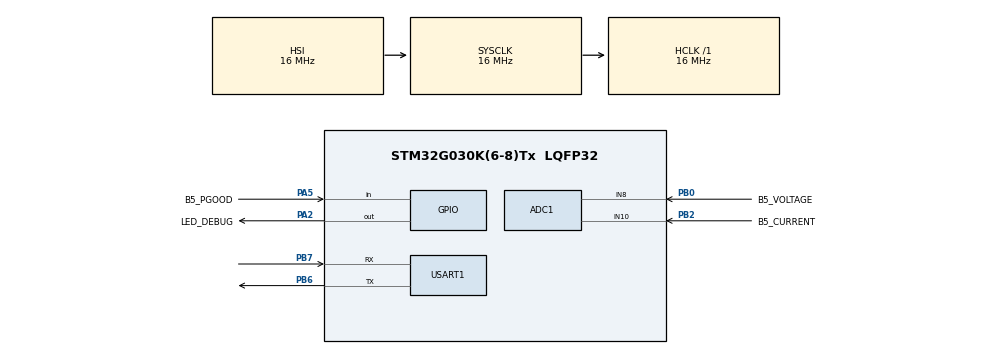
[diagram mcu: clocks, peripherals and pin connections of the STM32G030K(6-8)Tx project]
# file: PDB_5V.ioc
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ADC1.Channel-0\#ChannelRegularConversion=ADC_CHANNEL_8
ADC1.NbrOfConversionFlag=1
ADC1.Rank-0\#ChannelRegularConversion=1
ADC1.SamplingTime-0\#ChannelRegularConversion=ADC_SAMPLINGTIME_COMMON_1
ADC1.SamplingTimeCommon1=ADC_SAMPLETIME_39CYCLES_5
ADC1.SamplingTimeCommon2=ADC_SAMPLETIME_39CYCLES_5
ADC1.SelectedChannel=ADC_CHANNEL_8|ADC_CHANNEL_10
ADC1.TriggerFrequencyMode=ADC_TRIGGER_FREQ_LOW
ADC1.master=1
Mcu.Family=STM32G0
Mcu.Name=STM32G030K(6-8)Tx
Mcu.Package=LQFP32
PA13.Mode=Serial_Wire
PA13.Signal=SYS_SWDIO
PA14-BOOT0.Mode=Serial_Wire
PA14-BOOT0.Signal=SYS_SWCLK
PA2.GPIO_Label=LED_DEBUG
PA2.Signal=GPIO_Output
PA5.GPIO_Label=B5_PGOOD
PA5.Signal=GPIO_Input
PB0.GPIO_Label=B5_VOLTAGE
PB0.Mode=IN8
PB0.Signal=ADC1_IN8
PB2.GPIO_Label=B5_CURRENT
PB2.Mode=IN10
PB2.Signal=ADC1_IN10
PB6.Mode=Asynchronous
PB6.Signal=USART1_TX
PB7.Mode=Asynchronous
PB7.Signal=USART1_RX
ProjectManager.HeapSize=0x200
ProjectManager.StackSize=0x400
ProjectManager.TargetToolchain=CMake
RCC.AHBFreq_Value=16000000
RCC.CortexFreq_Value=16000000
RCC.EXTERNAL_CLOCK_VALUE=12288000
RCC.HCLKFreq_Value=16000000
RCC.HSE_VALUE=8000000
RCC.HSI_VALUE=16000000
RCC.LSE_VALUE=32768
RCC.SYSCLKFreq_VALUE=16000000
RCC.VCOOutputFreq_Value=128000000
USART1.VirtualMode-Asynchronous=VM_ASYNC
board=custom

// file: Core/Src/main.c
/* USER CODE BEGIN Header */
/**
  ******************************************************************************
  * @file           : main.c
  * @brief          : Main program body
  ******************************************************************************
  * @attention
  *
  * Copyright (c) 2026 STMicroelectronics.
  * All rights reserved.
  *
  * This software is licensed under terms that can be found in the LICENSE file
  * in the root directory of this software component.
  * If no LICENSE file comes with this software, it is provided AS-IS.
  *
  ******************************************************************************
  */
/* USER CODE END Header */
#include "main.h"

/* USER CODE BEGIN Includes */
#include <string.h>
#include <stdio.h>
/* USER CODE END Includes */

/* USER CODE BEGIN PD */

#define ADC_VREF       3.3f
#define ADC_MAX        4095.0f

#define SENSOR_VZERO   1.65f
#define SENSOR_SENS    0.050f

/* USER CODE END PD */

ADC_HandleTypeDef hadc1;

UART_HandleTypeDef huart1;

/* USER CODE BEGIN PV */

uint32_t adc_value;

float sensor_voltage;
float current_A;

char uart_message[100];

/* USER CODE END PV */

void SystemClock_Config(void);
static void MX_GPIO_Init(void);
static void MX_ADC1_Init(void);
static void MX_USART1_UART_Init(void);

int main(void)
{

  /* MCU Configuration--------------------------------------------------------*/

  /* Reset of all peripherals, Initializes the Flash interface and the Systick. */
  HAL_Init();

  /* Configure the system clock */
  SystemClock_Config();

  /* Initialize all configured peripherals */
  MX_GPIO_Init();
  MX_ADC1_Init();
  MX_USART1_UART_Init();
  /* USER CODE BEGIN 2 */

  if (HAL_ADCEx_Calibration_Start(&hadc1) != HAL_OK)
  {
    Error_Handler();
  }

  /* USER CODE END 2 */

  /* Infinite loop */
  while (1)
  {
    /* USER CODE BEGIN 3 */
        // Start ADC conversion
    if (HAL_ADC_Start(&hadc1) == HAL_OK)
    {
        // Wait for conversion to finish
        if (HAL_ADC_PollForConversion(&hadc1, 100) == HAL_OK)
        {
            // Read ADC value from PB2
            adc_value = HAL_ADC_GetValue(&hadc1);

            // Convert ADC reading into voltage
            sensor_voltage =
                ((float)adc_value / ADC_MAX) * ADC_VREF;

            // Convert voltage into current (Amperes)
            current_A =
                (sensor_voltage - SENSOR_VZERO) / SENSOR_SENS;

            // Convert current to milliamperes
            int32_t current_mA =
                (int32_t)(current_A * 1000.0f);

            // Format UART message
            snprintf(
                uart_message,
                sizeof(uart_message),
                "5V PDB Current: %ld mA\r\n",
                (long)current_mA
            );

            // Send current to CoolTerm
            HAL_UART_Transmit(
                &huart1,
                (uint8_t *)uart_message,
                strlen(uart_message),
                100
            );
        }

        HAL_ADC_Stop(&hadc1);
    }

    // Update every 500 ms
    HAL_Delay(500);
}
  /* USER CODE END 3 */
}

void SystemClock_Config(void)
{
  RCC_OscInitTypeDef RCC_OscInitStruct = {0};
  RCC_ClkInitTypeDef RCC_ClkInitStruct = {0};

  /** Configure the main internal regulator output voltage
  */
  HAL_PWREx_ControlVoltageScaling(PWR_REGULATOR_VOLTAGE_SCALE1);

  /** Initializes the RCC Oscillators according to the specified parameters
  * in the RCC_OscInitTypeDef structure.
  */
  RCC_OscInitStruct.OscillatorType = RCC_OSCILLATORTYPE_HSI;
  RCC_OscInitStruct.HSIState = RCC_HSI_ON;
  RCC_OscInitStruct.HSIDiv = RCC_HSI_DIV1;
  RCC_OscInitStruct.HSICalibrationValue = RCC_HSICALIBRATION_DEFAULT;
  RCC_OscInitStruct.PLL.PLLState = RCC_PLL_NONE;
  if (HAL_RCC_OscConfig(&RCC_OscInitStruct) != HAL_OK)
  {
    Error_Handler();
  }

  /** Initializes the CPU, AHB and APB buses clocks
  */
  RCC_ClkInitStruct.ClockType = RCC_CLOCKTYPE_HCLK|RCC_CLOCKTYPE_SYSCLK
                              |RCC_CLOCKTYPE_PCLK1;
  RCC_ClkInitStruct.SYSCLKSource = RCC_SYSCLKSOURCE_HSI;
  RCC_ClkInitStruct.AHBCLKDivider = RCC_SYSCLK_DIV1;
  RCC_ClkInitStruct.APB1CLKDivider = RCC_HCLK_DIV1;

  if (HAL_RCC_ClockConfig(&RCC_ClkInitStruct, FLASH_LATENCY_0) != HAL_OK)
  {
    Error_Handler();
  }
}

static void MX_ADC1_Init(void)
{

  ADC_ChannelConfTypeDef sConfig = {0};

  /** Configure the global features of the ADC (Clock, Resolution, Data Alignment and number of conversion)
  */
  hadc1.Instance = ADC1;
  hadc1.Init.ClockPrescaler = ADC_CLOCK_SYNC_PCLK_DIV2;
  hadc1.Init.Resolution = ADC_RESOLUTION_12B;
  hadc1.Init.DataAlign = ADC_DATAALIGN_RIGHT;
  hadc1.Init.ScanConvMode = ADC_SCAN_DISABLE;
  hadc1.Init.EOCSelection = ADC_EOC_SINGLE_CONV;
  hadc1.Init.LowPowerAutoWait = DISABLE;
  hadc1.Init.LowPowerAutoPowerOff = DISABLE;
  hadc1.Init.ContinuousConvMode = DISABLE;
  hadc1.Init.NbrOfConversion = 1;
  hadc1.Init.DiscontinuousConvMode = DISABLE;
  hadc1.Init.ExternalTrigConv = ADC_SOFTWARE_START;
  hadc1.Init.ExternalTrigConvEdge = ADC_EXTERNALTRIGCONVEDGE_NONE;
  hadc1.Init.DMAContinuousRequests = DISABLE;
  hadc1.Init.Overrun = ADC_OVR_DATA_PRESERVED;
  hadc1.Init.SamplingTimeCommon1 = ADC_SAMPLETIME_39CYCLES_5;
  hadc1.Init.SamplingTimeCommon2 = ADC_SAMPLETIME_39CYCLES_5;
  hadc1.Init.OversamplingMode = DISABLE;
  hadc1.Init.TriggerFrequencyMode = ADC_TRIGGER_FREQ_LOW;
  if (HAL_ADC_Init(&hadc1) != HAL_OK)
  {
    Error_Handler();
  }

  /** Configure Regular Channel
  */
  sConfig.Channel = ADC_CHANNEL_10;
  sConfig.Rank = ADC_REGULAR_RANK_1;
  sConfig.SamplingTime = ADC_SAMPLINGTIME_COMMON_1;
  if (HAL_ADC_ConfigChannel(&hadc1, &sConfig) != HAL_OK)
  {
    Error_Handler();
  }

}

static void MX_USART1_UART_Init(void)
{

  huart1.Instance = USART1;
  huart1.Init.BaudRate = 115200;
  huart1.Init.WordLength = UART_WORDLENGTH_8B;
  huart1.Init.StopBits = UART_STOPBITS_1;
  huart1.Init.Parity = UART_PARITY_NONE;
  huart1.Init.Mode = UART_MODE_TX_RX;
  huart1.Init.HwFlowCtl = UART_HWCONTROL_NONE;
  huart1.Init.OverSampling = UART_OVERSAMPLING_16;
  huart1.Init.OneBitSampling = UART_ONE_BIT_SAMPLE_DISABLE;
  huart1.Init.ClockPrescaler = UART_PRESCALER_DIV1;
  huart1.AdvancedInit.AdvFeatureInit = UART_ADVFEATURE_NO_INIT;
  if (HAL_UART_Init(&huart1) != HAL_OK)
  {
    Error_Handler();
  }
  if (HAL_UARTEx_SetTxFifoThreshold(&huart1, UART_TXFIFO_THRESHOLD_1_8) != HAL_OK)
  {
    Error_Handler();
  }
  if (HAL_UARTEx_SetRxFifoThreshold(&huart1, UART_RXFIFO_THRESHOLD_1_8) != HAL_OK)
  {
    Error_Handler();
  }
  if (HAL_UARTEx_DisableFifoMode(&huart1) != HAL_OK)
  {
    Error_Handler();
  }

}

static void MX_GPIO_Init(void)
{
  GPIO_InitTypeDef GPIO_InitStruct = {0};

  /* GPIO Ports Clock Enable */
  __HAL_RCC_GPIOA_CLK_ENABLE();
  __HAL_RCC_GPIOB_CLK_ENABLE();

  /*Configure GPIO pin Output Level */
  HAL_GPIO_WritePin(LED_DEBUG_GPIO_Port, LED_DEBUG_Pin, GPIO_PIN_RESET);

  /*Configure GPIO pin : LED_DEBUG_Pin */
  GPIO_InitStruct.Pin = LED_DEBUG_Pin;
  GPIO_InitStruct.Mode = GPIO_MODE_OUTPUT_PP;
  GPIO_InitStruct.Pull = GPIO_NOPULL;
  GPIO_InitStruct.Speed = GPIO_SPEED_FREQ_LOW;
  HAL_GPIO_Init(LED_DEBUG_GPIO_Port, &GPIO_InitStruct);

  /*Configure GPIO pin : B5_PGOOD_Pin */
  GPIO_InitStruct.Pin = B5_PGOOD_Pin;
  GPIO_InitStruct.Mode = GPIO_MODE_INPUT;
  GPIO_InitStruct.Pull = GPIO_NOPULL;
  HAL_GPIO_Init(B5_PGOOD_GPIO_Port, &GPIO_InitStruct);

}

void Error_Handler(void)
{
  __disable_irq();
  while (1)
  {
  }
}
